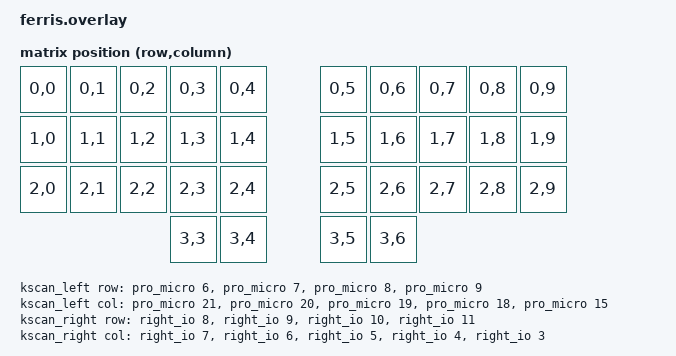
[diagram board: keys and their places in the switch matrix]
/*
 * Copyright (c) 2020 The ZMK Contributors
 *
 * SPDX-License-Identifier: MIT
 */

#include <dt-bindings/zmk/matrix_transform.h>
#include <layouts/cuddlykeyboards/ferris.dtsi>

&cuddlykeyboards_ferris_layout {
    transform = <&matrix_transform0>;
};

/ {
    chosen {
        zmk,kscan = &kscan0;
        zmk,physical-layout = &cuddlykeyboards_ferris_layout;
    };

    matrix_transform0: matrix_transform0 {
        compatible = "zmk,matrix-transform";
        rows = <4>;
        columns = <10>;

        map = <
        RC(0,0) RC(0,1) RC(0,2) RC(0,3) RC(0,4)     RC(0,5) RC(0,6) RC(0,7) RC(0,8) RC(0,9)
        RC(1,0) RC(1,1) RC(1,2) RC(1,3) RC(1,4)     RC(1,5) RC(1,6) RC(1,7) RC(1,8) RC(1,9)
        RC(2,0) RC(2,1) RC(2,2) RC(2,3) RC(2,4)     RC(2,5) RC(2,6) RC(2,7) RC(2,8) RC(2,9)
        RC(3,3)  RC(3,4)     RC(3,5) RC(3,6)
        >;
    };

    kscan0: kscan0 {
        compatible = "zmk,kscan-composite";
        rows = <4>;
        columns = <10>;

        left {
            kscan = <&kscan_left>;
        };

        right {
            kscan = <&kscan_right>;
            col-offset = <5>;
        };
    };

    kscan_left: kscan_left {
        compatible = "zmk,kscan-gpio-matrix";
        diode-direction = "col2row";
        
        col-gpios
            = <&pro_micro 21 GPIO_ACTIVE_HIGH>  // D1/P1.06
            , <&pro_micro 20 GPIO_ACTIVE_HIGH>  // D0/P1.04
            , <&pro_micro 19 GPIO_ACTIVE_HIGH>  // D2/P0.11
            , <&pro_micro 18 GPIO_ACTIVE_HIGH>  // D3/P1.00
            , <&pro_micro 15 GPIO_ACTIVE_HIGH>  // D4/P0.24
            ;
        row-gpios
            = <&pro_micro 6 (GPIO_ACTIVE_HIGH | GPIO_PULL_DOWN)>   // D7/P0.09
            , <&pro_micro 7 (GPIO_ACTIVE_HIGH | GPIO_PULL_DOWN)>   // D8/P0.10
            , <&pro_micro 8 (GPIO_ACTIVE_HIGH | GPIO_PULL_DOWN)>   // D9/P1.11
            , <&pro_micro 9 (GPIO_ACTIVE_HIGH | GPIO_PULL_DOWN)>   // D10/P1.13
            ;
    };

    kscan_right: kscan_right {
        compatible = "zmk,kscan-gpio-matrix";
        diode-direction = "row2col";
        
        col-gpios
            = <&right_io 7 (GPIO_ACTIVE_LOW | GPIO_PULL_UP)>
            , <&right_io 6 (GPIO_ACTIVE_LOW | GPIO_PULL_UP)>
            , <&right_io 5 (GPIO_ACTIVE_LOW | GPIO_PULL_UP)>
            , <&right_io 4 (GPIO_ACTIVE_LOW | GPIO_PULL_UP)>
            , <&right_io 3 (GPIO_ACTIVE_LOW | GPIO_PULL_UP)>
            ;
        row-gpios
            = <&right_io 8  (GPIO_ACTIVE_LOW)>
            , <&right_io 9  (GPIO_ACTIVE_LOW)>
            , <&right_io 10 (GPIO_ACTIVE_LOW)>
            , <&right_io 11 (GPIO_ACTIVE_LOW)>
            ;
    };
};

&pro_micro_i2c {
    status = "okay";

    right_io: mcp23017@20 {
        compatible = "microchip,mcp23017";
        status = "okay";
        gpio-controller;
        reg = <0x20>;
        #gpio-cells = <2>;
        ngpios = <16>;
    };
};
